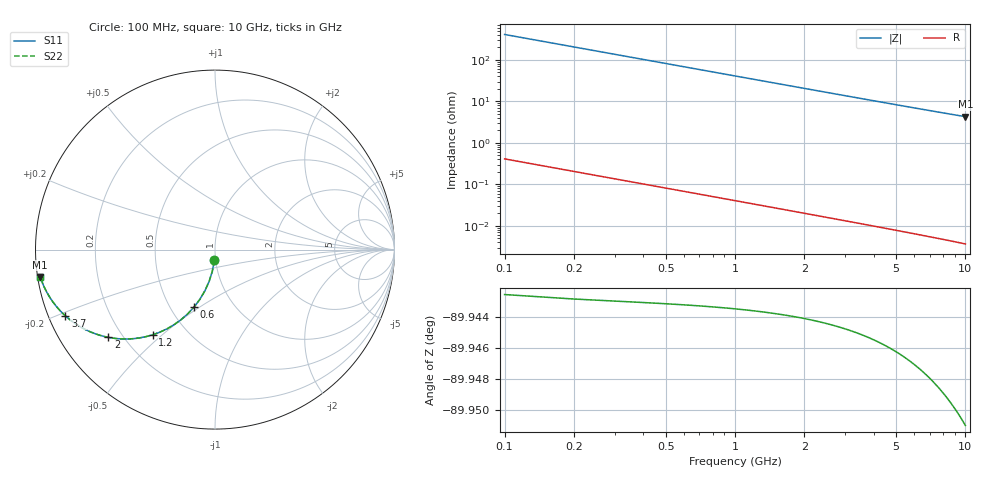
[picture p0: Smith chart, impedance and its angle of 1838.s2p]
# Hz S RI R 50.00
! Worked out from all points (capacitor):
!   100 points, 100 MHz to 10 GHz, reference 50 ohm
!   read as one part in shunt: C = 3.86 pF near 100 MHz
!   lowest |Z| = 4.3 ohm at 10 GHz (marker M1)
!   S11 on the Smith chart (normalised r, x): 100 MHz: 0.99, -0.12; 600 MHz: 0.65, -0.47; 1.2 GHz: 0.32, -0.47; 2 GHz: 0.15, -0.35; 3.7 GHz: 0.05, -0.21; 10 GHz: 0.01, -0.08
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1e8  -0.00371 -0.0604  0.9962 -0.0605  0.9962 -0.0605  -0.00371 -0.0604
2e8  -0.0146 -0.1194  0.9853 -0.1197  0.9853 -0.1197  -0.0146 -0.1194
3e8  -0.0322 -0.1759  0.9677 -0.1764  0.9677 -0.1764  -0.0322 -0.1759
4e8  -0.0558 -0.2288  0.9441 -0.2294  0.9441 -0.2294  -0.0558 -0.2288
5e8  -0.0845 -0.2773  0.9155 -0.278  0.9155 -0.278  -0.0845 -0.2773
6e8  -0.1172 -0.3208  0.8827 -0.3217  0.8827 -0.3217  -0.1172 -0.3208
7e8  -0.153 -0.359  0.8469 -0.3601  0.8469 -0.3601  -0.153 -0.359
9e8  -0.2298 -0.4195  0.7702 -0.4209  0.7702 -0.4209  -0.2298 -0.4195
1.2e9  -0.3464 -0.4744  0.6536 -0.4762  0.6536 -0.4762  -0.3464 -0.4744
1.5e9  -0.4527 -0.4961  0.5472 -0.4984  0.5472 -0.4984  -0.4527 -0.4961
1.8e9  -0.5434 -0.4962  0.4565 -0.499  0.4565 -0.499  -0.5434 -0.4962
2e9  -0.5949 -0.4889  0.405 -0.4919  0.405 -0.4919  -0.5949 -0.4889
2.3e9  -0.66 -0.4715  0.34 -0.475  0.34 -0.475  -0.66 -0.4715
2.6e9  -0.7125 -0.4501  0.2874 -0.4541  0.2874 -0.4541  -0.7125 -0.4501
3e9  -0.7673 -0.4197  0.2327 -0.4243  0.2327 -0.4243  -0.7673 -0.4197
3.4e9  -0.8089 -0.3901  0.1911 -0.3953  0.1911 -0.3953  -0.8089 -0.3901
3.7e9  -0.8336 -0.3691  0.1664 -0.3748  0.1664 -0.3748  -0.8336 -0.3691
4.3e9  -0.8711 -0.3312  0.1288 -0.3378  0.1288 -0.3378  -0.8711 -0.3312
5.1e9  -0.9048 -0.289  0.0951 -0.2969  0.0951 -0.2969  -0.9048 -0.289
6.7e9  -0.9425 -0.2269  0.0574 -0.2373  0.0574 -0.2373  -0.9425 -0.2269
8.4e9  -0.9627 -0.1821  0.0371 -0.1953  0.0371 -0.1953  -0.9627 -0.1821
1e10  -0.9735 -0.1518  0.0263 -0.1678  0.0263 -0.1678  -0.9735 -0.1518
